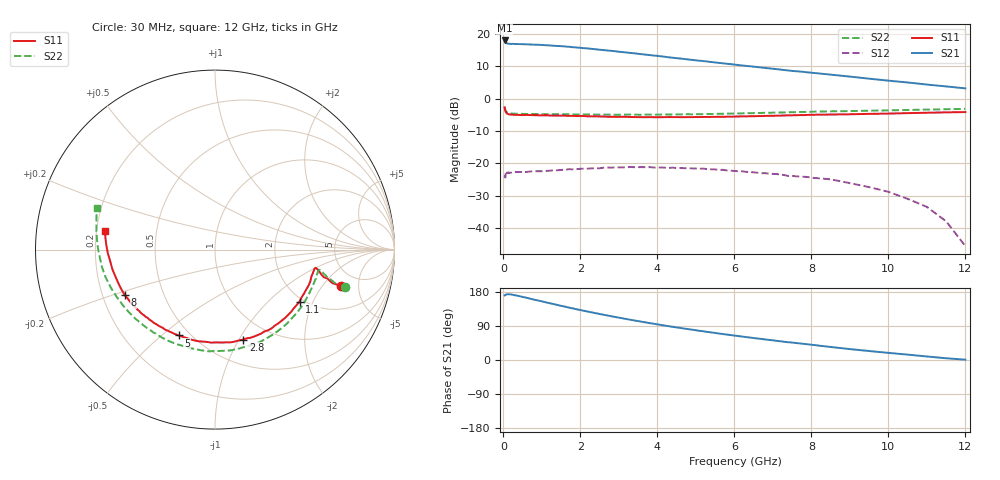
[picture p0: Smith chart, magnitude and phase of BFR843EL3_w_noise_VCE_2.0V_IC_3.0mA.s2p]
! Infineon Technologies  Discrete & RF Semiconductors
! BFR843EL3
! VCE =  2.0 V,  IC =  3.0 mA
! Common Emitter S-Parameters:  Aug 2013
# GHz  S  MA  R  50
!  f  S11  S21  S12  S22
! GHz  MAG  ANG  MAG  ANG  MAG  ANG  MAG  ANG
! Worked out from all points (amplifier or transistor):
!   103 points, 30 MHz to 12 GHz, reference 50 ohm
!   highest |S21| = 18.0 dB at 30 MHz (marker M1)
!   |S21| within 3 dB of that: start of sweep to 2.618 GHz
!   unconditionally stable (mu >= 1): 176.8 MHz to 397.3 MHz; 7.05 GHz to end of sweep
!   at 400 MHz: K = 1.00, MSG = 19.8 dB, |S12| = -22.7 dB
!   at 3.7 GHz: K = 0.75, MSG = 17.4 dB, |S12| = -21.2 dB
!   at 12 GHz: K = 20.75, MAG = 8.3 dB, |S12| = -45.7 dB
!   lowest NFmin = 1.00 dB at 450 MHz
!   S11 on the Smith chart (normalised r, x): 30 MHz: 3.59, -3.13; 1.1 GHz: 1.91, -1.59; 2.8 GHz: 0.75, -1.04; 5 GHz: 0.44, -0.57; 8 GHz: 0.29, -0.22; 12 GHz: 0.24, +0.08
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0.03  0.731 -16.1  7.978 170.4  0.0605 36.2  0.7545 -16.0
0.04  0.678 -15.9  7.69 171.0  0.0634 27.7  0.7009 -15.8
0.06  0.6247 -14.2  7.377 172.0  0.0732 23.4  0.6448 -14.0
0.08  0.5995 -12.3  7.226 173.1  0.0696 15.9  0.6212 -12.6
0.15  0.5712 -10.3  7.078 173.5  0.0706 8.9  0.594 -10.9
0.2  0.5682 -10.3  7.049 172.9  0.0717 6.6  0.59 -11.2
0.6  0.5599 -18.7  6.947 164.2  0.0734 3.5  0.5797 -21.7
1.1  0.553 -31.6  6.735 152.3  0.0762 2.8  0.5767 -37.1
1.5  0.5463 -42.0  6.514 142.9  0.079 1.4  0.5743 -49.2
2.1  0.5377 -56.7  6.057 129.7  0.0825 -1.0  0.5712 -66.2
2.4  0.5319 -63.8  5.825 123.4  0.084 -2.2  0.5669 -74.2
2.8  0.5255 -72.6  5.517 115.5  0.0855 -5.6  0.5666 -84.0
3.3  0.5208 -82.9  5.113 106.1  0.0876 -8.1  0.5673 -95.3
4.1  0.5171 -97.7  4.527 92.4  0.0861 -15.0  0.5674 -111.1
5  0.5198 -113.0  3.927 78.5  0.083 -21.8  0.5756 -126.7
6.1  0.5307 -129.1  3.322 63.2  0.0752 -29.7  0.5913 -142.9
6.9  0.5432 -139.8  2.953 53.0  0.0691 -34.6  0.6054 -153.0
8  0.5635 -153.3  2.526 40.3  0.0598 -41.8  0.6284 -165.7
8.5  0.5686 -159.0  2.359 34.3  0.0564 -46.2  0.6372 -171.2
10.5  0.5975 -178.1  1.783 14.2  0.0281 -61.0  0.669 171.1
11.5  0.6143 173.8  1.549 4.6  0.0126 -58.3  0.6875 163.7
12  0.6205 170.6  1.445 0.9  0.0052 -2.7  0.6954 160.6
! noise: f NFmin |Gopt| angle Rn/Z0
0.45  1  0.3  5  0.24
0.9  1.01  0.29  19  0.22
1.5  1.04  0.3  32  0.21
1.9  1.06  0.3  37  0.2
2.4  1.09  0.31  47  0.2
3.5  1.15  0.3  69  0.17
5.5  1.27  0.33  105  0.13
8  1.41  0.4  147  0.09
10  1.52  0.45  198  0.06
